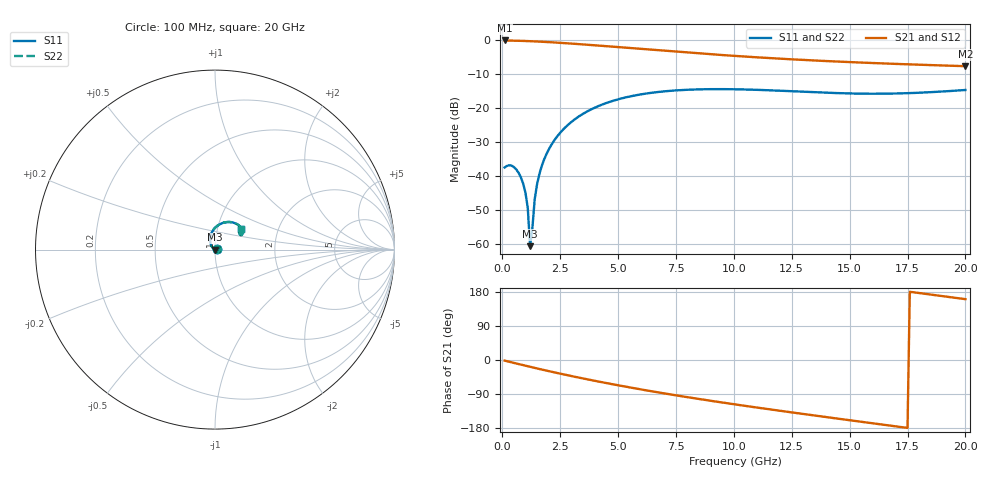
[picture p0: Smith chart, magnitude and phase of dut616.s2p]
! Touchstone file exported from HFSS 2024.1.0
!  File:  C:/UserFiles/LocalFiles/RDL_TSV_Batchsim/temp_RDL_TSV_616_1779801006.aedt
!  Generated:  09:26:15 PM May 26, 2026
!  Design:  RDL_TSV
!  Project:  temp_RDL_TSV_616_1779801006
!  Setup:  Setup1
!  Solution:  Sweep
! Variables:
!  dtsv = 5.35um
!  hbump = 3um
!  htsv = 83.17um
!  ldown = 577.48um
!  lrdl = 310.51um
!  p = 40
!  p1 = 40.49um
!  rhole = 10um
!  subl = 2974.48um
!  t = 450um
!  tdown = 4.14um
!  trdl = 2.99um
!  viad = 10um
!  wdown = 27.06um
!  wrdl = 29.26um
!  xbump = 18um
# GHz S MA R 50.000000
! Terminal data exported
! Port[1] = TM1_1_T1
! Port[2] = TM1_4_T1
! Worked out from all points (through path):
!   200 points, 100 MHz to 20 GHz, reference 50 ohm
!   highest |S21| = -0.12 dB at 100 MHz (marker M1); lowest = -7.7 dB at 20 GHz (marker M2)
!   group delay of S21, straight-line fit = 26.6 ps
!   lowest |S11| = -60.7 dB at 1.2 GHz (marker M3), VSWR 1.00, Z = 50.1 - j0.0404 ohm
!   |S11| at or under -10 dB: start of sweep to end of sweep
!   |S22| runs from -60.8 to -14.4 dB; largest |S21 - S12| = 1.3e-14
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0.1  0.01333 3.4  0.9864 -1.6  0.9864 -1.6  0.01333 3.4
! Gamma 0 0 0 0
! Port Impedance 50 0 50 0
0.3  0.01438 1.3  0.9832 -4.7  0.9832 -4.7  0.01438 1.3
0.5  0.01355 -4.9  0.9797 -7.7  0.9797 -7.7  0.01354 -4.9
0.7  0.0112 -11.1  0.9758 -10.6  0.9758 -10.6  0.0112 -11.1
0.9  0.007752 -16.8  0.9711 -13.6  0.9711 -13.6  0.007746 -16.9
1  0.005681 -19.6  0.9685 -15.0  0.9685 -15.0  0.005672 -19.6
1.1  0.003401 -22.3  0.9657 -16.5  0.9657 -16.5  0.00339 -22.5
1.2  0.0009277 -25.8  0.9627 -18.0  0.9627 -18.0  0.0009155 -26.5
1.3  0.001726 153.5  0.9595 -19.4  0.9595 -19.4  0.001741 154.0
1.4  0.004546 150.7  0.9561 -20.8  0.9561 -20.8  0.004563 150.9
1.5  0.00752 148.2  0.9525 -22.3  0.9525 -22.3  0.00754 148.3
1.6  0.01064 145.8  0.9488 -23.7  0.9488 -23.7  0.01066 145.9
1.8  0.01725 141.1  0.941 -26.5  0.941 -26.5  0.01728 141.2
2.1  0.02796 134.4  0.9284 -30.6  0.9284 -30.6  0.028 134.5
2.5  0.04322 126.0  0.9104 -36.0  0.9104 -36.0  0.04328 126.1
3.5  0.08269 107.2  0.862 -48.9  0.862 -48.9  0.08281 107.3
4.9  0.1313 85.3  0.7927 -65.6  0.7927 -65.6  0.1315 85.4
6.8  0.1732 62.5  0.7045 -86.2  0.7045 -86.2  0.1735 62.6
10.1  0.1886 37.8  0.5826 -117.6  0.5826 -117.6  0.1892 37.9
13.4  0.1712 28.9  0.502 -145.8  0.502 -145.8  0.172 29.0
16.7  0.1628 32.8  0.4495 -172.7  0.4495 -172.7  0.1637 32.8
20  0.1842 38.2  0.4126 160.6  0.4126 160.6  0.185 38.1
